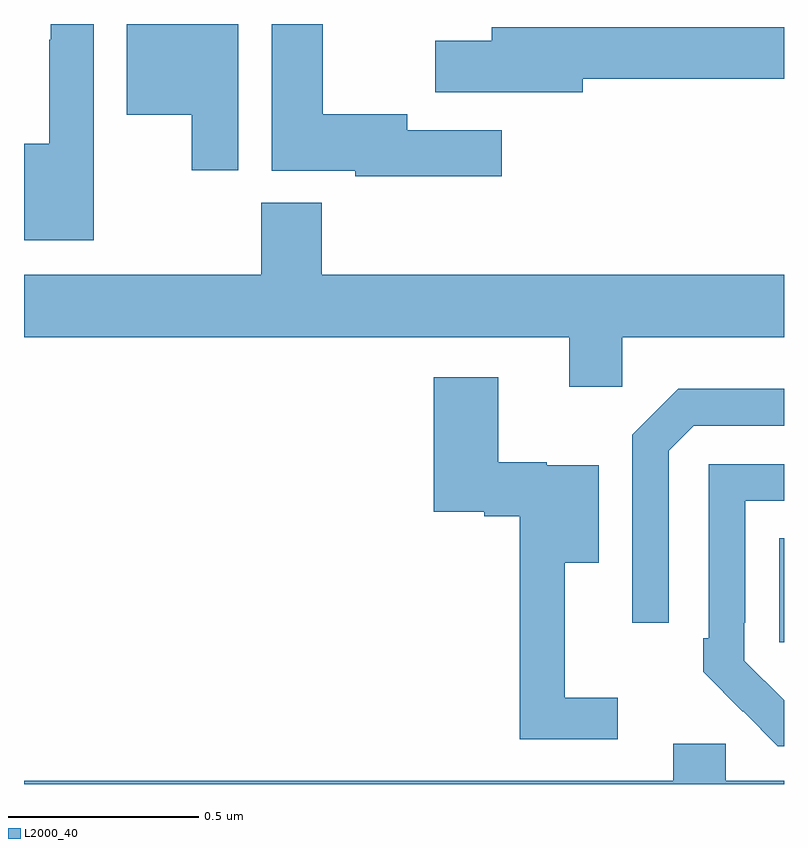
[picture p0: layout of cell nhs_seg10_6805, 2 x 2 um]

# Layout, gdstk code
import gdstk
lib = gdstk.Library(unit=1e-6, precision=1e-09)
def R(c, l, rs):  # rectangles x0, y0, x1, y1
    for r in rs: c.add(gdstk.rectangle(r[:2], r[2:], *l))
def P(c, l, *ps):  # polygons
    for p in ps: c.add(gdstk.Polygon(p, *l))
L2000_40 = (2000, 40)

nhs_seg10_6805 = lib.new_cell('nhs_seg10_6805')
R(nhs_seg10_6805, L2000_40, [(197.987,1272.873,198,1273.147)])
P(nhs_seg10_6805, L2000_40, [(197.257,1274.221),(197.008,1274.221),(197.008,1274.263),(196.786,1274.263),(196.786,1274.5),(196.652,1274.5),(196.652,1274.114),(196.872,1274.114),(196.872,1274.099),(197.257,1274.099)],
  [(196.564,1274.5),(196.271,1274.5),(196.271,1274.261),(196.442,1274.261),(196.442,1274.115),(196.564,1274.115)],
  [(196.183,1274.5),(196.071,1274.5),(196.071,1274.459),(196.067,1274.459),(196.067,1274.185),(196,1274.185),(196,1273.931),(196.183,1273.931)],
  [(197.47,1274.356),(198,1274.356),(198,1274.492),(197.231,1274.492),(197.231,1274.456),(197.082,1274.456),(197.082,1274.321),(197.47,1274.321)],
  [(197.574,1273.676),(198,1273.676),(198,1273.84),(196.784,1273.84),(196.784,1274.029),(196.624,1274.029),(196.624,1273.84),(196,1273.84),(196,1273.676),(197.435,1273.676),(197.435,1273.545),(197.574,1273.545)],
  [(197.563,1272.727),(197.423,1272.727),(197.423,1273.082),(197.512,1273.082),(197.512,1273.339),(197.376,1273.339),(197.376,1273.347),(197.248,1273.347),(197.248,1273.57),(197.078,1273.57),(197.078,1273.217),(197.211,1273.217),(197.211,1273.205),(197.305,1273.205),(197.305,1272.618),(197.563,1272.618)],
  [(197.697,1273.377),(197.763,1273.443),(198,1273.443),(198,1273.54),(197.722,1273.54),(197.601,1273.419),(197.601,1272.924),(197.697,1272.924)],
  [(198,1272.721),(197.895,1272.825),(197.895,1272.925),(197.898,1272.925),(197.898,1273.245),(198,1273.245),(198,1273.341),(197.802,1273.341),(197.802,1272.883),(197.787,1272.883),(197.787,1272.795),(197.892,1272.69),(197.893,1272.691),(197.984,1272.6),(198,1272.6)],
  [(198,1272.508),(197.847,1272.508),(197.847,1272.606),(197.708,1272.606),(197.708,1272.508),(196,1272.508),(196,1272.5),(198,1272.5)])

lib.write_gds('nhs_seg10_6805.gds')
